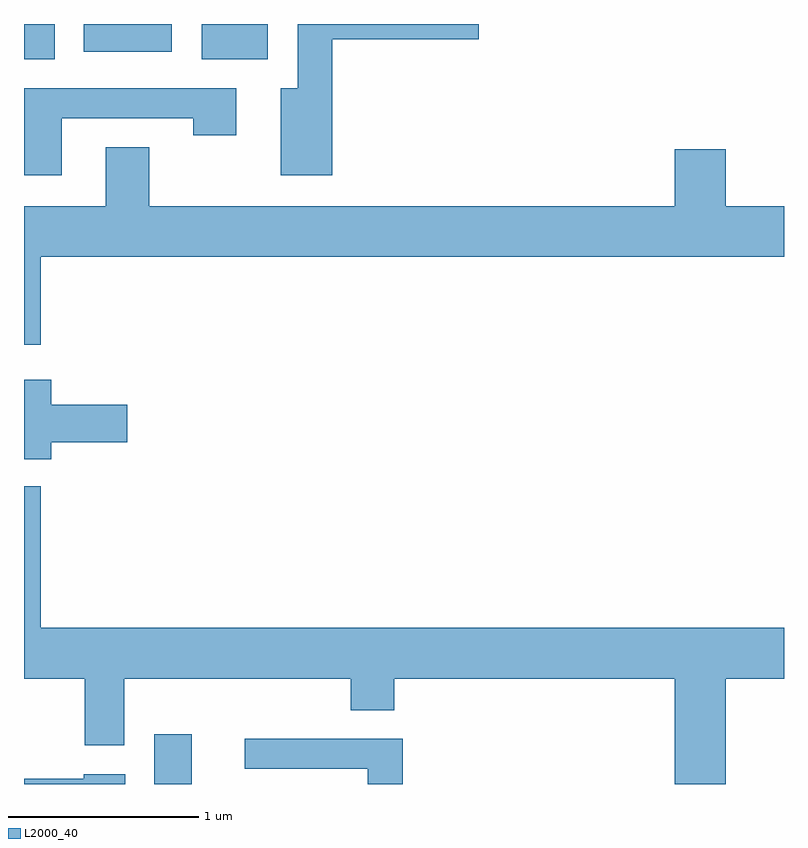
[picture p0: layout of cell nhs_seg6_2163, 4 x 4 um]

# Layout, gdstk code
import gdstk
lib = gdstk.Library(unit=1e-6, precision=1e-09)
def R(c, l, rs):  # rectangles x0, y0, x1, y1
    for r in rs: c.add(gdstk.rectangle(r[:2], r[2:], *l))
def P(c, l, *ps):  # polygons
    for p in ps: c.add(gdstk.Polygon(p, *l))
L2000_40 = (2000, 40)

nhs_seg6_2163 = lib.new_cell('nhs_seg6_2163')
R(nhs_seg6_2163, L2000_40, [(252.296,1536.162,252.494,1536.424), (251.611,1539.976,251.774,1540.162), (252.546,1539.976,252.894,1540.162), (251.926,1540.016,252.389,1540.162)])
P(nhs_seg6_2163, L2000_40, [(253.234,1540.081),(254.004,1540.081),(254.004,1540.162),(253.051,1540.162),(253.051,1539.824),(252.961,1539.824),(252.961,1539.366),(253.234,1539.366)],
  [(251.809,1539.666),(252.501,1539.666),(252.501,1539.576),(252.729,1539.576),(252.729,1539.824),(251.611,1539.824),(251.611,1539.366),(251.809,1539.366)],
  [(251.699,1538.936),(255.611,1538.936),(255.611,1539.204),(255.304,1539.204),(255.304,1539.504),(255.036,1539.504),(255.036,1539.204),(252.269,1539.204),(252.269,1539.514),(252.041,1539.514),(252.041,1539.204),(251.611,1539.204),(251.611,1538.473),(251.699,1538.473)],
  [(251.754,1537.961),(252.154,1537.961),(252.154,1538.159),(251.754,1538.159),(251.754,1538.289),(251.611,1538.289),(251.611,1537.871),(251.754,1537.871)],
  [(255.304,1536.716),(255.611,1536.716),(255.611,1536.984),(251.699,1536.984),(251.699,1537.728),(251.611,1537.728),(251.611,1536.716),(251.931,1536.716),(251.931,1536.366),(252.139,1536.366),(252.139,1536.716),(253.331,1536.716),(253.331,1536.551),(253.559,1536.551),(253.559,1536.716),(255.036,1536.716),(255.036,1536.162),(255.304,1536.162)],
  [(253.604,1536.399),(252.773,1536.399),(252.773,1536.241),(253.421,1536.241),(253.421,1536.162),(253.604,1536.162)],
  [(252.144,1536.214),(251.926,1536.214),(251.926,1536.189),(251.611,1536.189),(251.611,1536.162),(252.144,1536.162)])

lib.write_gds('nhs_seg6_2163.gds')
